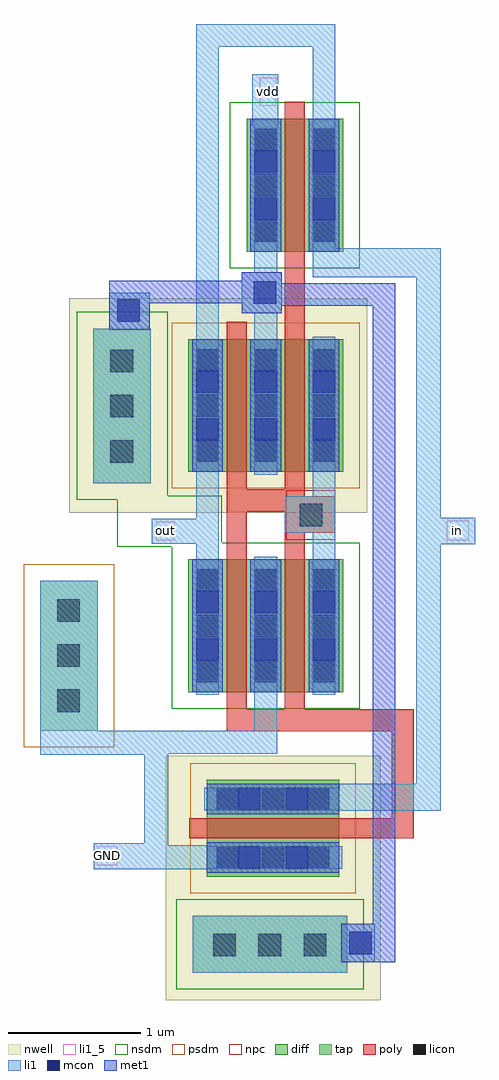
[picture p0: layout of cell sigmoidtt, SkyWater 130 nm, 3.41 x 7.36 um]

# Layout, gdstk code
from math import pi, radians
import gdstk
lib = gdstk.Library(unit=1e-6, precision=1e-09)
def R(c, l, rs):  # rectangles x0, y0, x1, y1
    for r in rs: c.add(gdstk.rectangle(r[:2], r[2:], *l))
def A(c, l, x, y, w, h, nx, ny, dx, dy):  # array of equal rectangles
    R(c, l, [(x+i*dx, y+j*dy, x+i*dx+w, y+j*dy+h) for i in range(nx) for j in range(ny)])
nwell = (64, 20)
diff = (65, 20)
tap = (65, 44)
poly = (66, 20)
licon = (66, 44)
li1_5 = (67, 5)
li1 = (67, 20)
mcon = (67, 44)
met1 = (68, 20)
nsdm = (93, 44)
psdm = (94, 20)
npc = (95, 20)

sky130_fd_pr__pfet_01v8_ = lib.new_cell('sky130_fd_pr__pfet_01v8_5U3NDE')
R(sky130_fd_pr__pfet_01v8_, nwell, [(-0.545,-0.81,0.545,0.81)])
R(sky130_fd_pr__pfet_01v8_, diff, [(-0.365,-0.5,0.365,0.5)])
R(sky130_fd_pr__pfet_01v8_, poly, [(-0.075,-0.63,0.075,0.63)])
A(sky130_fd_pr__pfet_01v8_, licon, -0.305, -0.425, 0.17, 0.17, 1, 3, 0, 0.34)
A(sky130_fd_pr__pfet_01v8_, licon, 0.135, -0.425, 0.17, 0.17, 1, 3, 0, 0.34)
R(sky130_fd_pr__pfet_01v8_, li1, [(-0.305,-0.52,-0.135,0.52), (0.135,-0.52,0.305,0.52)])
R(sky130_fd_pr__pfet_01v8_, mcon, [(-0.305,-0.265,-0.135,-0.095), (0.135,-0.265,0.305,-0.095), (-0.305,0.095,-0.135,0.265), (0.135,0.095,0.305,0.265)])
R(sky130_fd_pr__pfet_01v8_, met1, [(-0.335,-0.5,-0.105,0.5), (0.105,-0.5,0.335,0.5)])
R(sky130_fd_pr__pfet_01v8_, psdm, [(-0.49,-0.625,0.49,0.625)])

sky130_fd_pr__nfet_01v8_ = lib.new_cell('sky130_fd_pr__nfet_01v8_J2TWZ5')
R(sky130_fd_pr__nfet_01v8_, diff, [(-0.365,-0.5,0.365,0.5)])
R(sky130_fd_pr__nfet_01v8_, poly, [(-0.075,-0.63,0.075,0.63)])
A(sky130_fd_pr__nfet_01v8_, licon, -0.305, -0.425, 0.17, 0.17, 1, 3, 0, 0.34)
A(sky130_fd_pr__nfet_01v8_, licon, 0.135, -0.425, 0.17, 0.17, 1, 3, 0, 0.34)
R(sky130_fd_pr__nfet_01v8_, li1, [(-0.305,-0.52,-0.135,0.52), (0.135,-0.52,0.305,0.52)])
R(sky130_fd_pr__nfet_01v8_, mcon, [(-0.305,-0.265,-0.135,-0.095), (0.135,-0.265,0.305,-0.095), (-0.305,0.095,-0.135,0.265), (0.135,0.095,0.305,0.265)])
R(sky130_fd_pr__nfet_01v8_, met1, [(-0.335,-0.5,-0.105,0.5), (0.105,-0.5,0.335,0.5)])
R(sky130_fd_pr__nfet_01v8_, nsdm, [(-0.49,-0.625,0.49,0.625)])

sigmoidtt = lib.new_cell('sigmoidtt')
R(sigmoidtt, nwell, [(-1.215,-2.335,0.405,-1.585), (-1.055,-1.585,0.24,-1.515), (-1.095,-1.35,-0.905,-1.25), (0.095,-0.735,0.125,-0.705), (-1.94,1.335,-1.225,1.34), (-1.94,1.34,-1.22,2.955)])
R(sigmoidtt, tap, [(-1.01,-2.13,0.155,-1.7), (-2.16,-0.305,-1.725,0.825), (-1.76,1.56,-1.325,2.725)])
R(sigmoidtt, poly, [(0.225,-1.115,0.655,-0.965), (0.49,-0.965,0.655,-0.31), (-0.755,-0.31,0.655,-0.145), (-0.755,1.11,-0.605,1.345), (-0.315,1.115,-0.165,1.185), (-0.315,1.185,0.065,1.345), (-0.755,1.345,0.065,1.46), (-0.755,1.46,-0.165,1.515), (-0.315,1.515,-0.165,1.52), (-0.315,2.775,-0.165,3.175)])
A(sigmoidtt, licon, -0.855, -2.005, 0.17, 0.17, 3, 1, 0.34, 0)
A(sigmoidtt, licon, -2.03, -0.165, 0.17, 0.17, 1, 3, 0, 0.34)
A(sigmoidtt, licon, -1.63, 1.715, 0.17, 0.17, 1, 3, 0, 0.34)
R(sigmoidtt, licon, [(-0.205,1.235,-0.035,1.405)])
R(sigmoidtt, li1_5, [(-1.73,-1.32,-1.58,-1.175), (-1.285,1.13,-1.145,1.27), (0.905,1.13,1.07,1.275), (-0.505,4.405,-0.38,4.615)])
R(sigmoidtt, li1, [(-1.01,-2.13,0.155,-2.05), (-1.01,-2.05,0.36,-1.76), (-1.01,-1.76,0.155,-1.7), (-1.755,-1.35,-0.905,-1.17), (-1.755,-1.17,-1.195,-1.155), (-1.375,-1.155,-1.195,-0.485), (0.11,-0.91,0.86,-0.735), (0.095,-0.735,0.86,-0.705), (0.675,-0.705,0.86,1.1), (-2.16,-0.485,-1.195,-0.48), (-2.16,-0.48,-0.375,-0.305), (-2.16,-0.305,-1.725,0.825), (-0.545,-0.305,-0.375,-0.015), (-0.985,1.005,-0.815,1.105), (-0.105,1.005,0.065,1.185), (0.675,1.1,1.12,1.3), (-1.32,1.105,-0.815,1.29), (-0.315,1.185,0.065,1.46), (-0.985,1.29,-0.815,1.625), (0.675,1.3,0.86,3.11), (-0.105,1.46,0.065,1.625), (-1.76,1.56,-1.325,2.725), (-0.985,2.665,-0.815,4.85), (-0.545,2.665,-0.375,2.84), (-1.64,2.725,-1.335,2.995), (-0.64,2.84,-0.34,3.15), (-0.105,3.11,0.86,3.33), (-0.545,3.15,-0.375,3.285), (-0.56,4.26,-0.365,4.64), (-0.105,4.325,0.065,4.85), (-0.985,4.85,0.065,5.02)])
R(sigmoidtt, mcon, [(0.17,-1.99,0.34,-1.82), (-1.58,2.775,-1.41,2.945), (-0.55,2.91,-0.38,3.08)])
R(sigmoidtt, met1, [(0.11,-2.05,0.515,-1.76), (0.345,-1.76,0.515,2.895), (-1.64,2.715,-1.335,2.915), (-0.64,2.84,-0.34,2.895), (-0.64,2.895,0.515,2.915), (-1.64,2.915,0.515,3.065), (-1.64,3.065,-0.34,3.085), (-0.64,3.085,-0.34,3.15)])
R(sigmoidtt, nsdm, [(-1.135,-2.255,0.28,-1.575), (-1.58,1.08,-1.17,1.11), (-1.58,1.11,-0.79,1.435), (-1.885,1.435,-0.79,1.465), (-1.885,1.465,-1.2,2.85)])
R(sigmoidtt, psdm, [(-2.285,-0.43,-1.6,0.95)])
R(sigmoidtt, npc, [(-0.305,1.135,0.065,1.505)])
sigmoidtt.add(gdstk.Reference(sky130_fd_pr__pfet_01v8_, (-0.405,-1.04), rotation=3*pi/2))
sigmoidtt.add(gdstk.Reference(sky130_fd_pr__nfet_01v8_, (-0.24,3.805), rotation=pi, x_reflection=True))
sigmoidtt.add(gdstk.Reference(sky130_fd_pr__nfet_01v8_, (-0.68,0.485), rotation=pi, x_reflection=True))
sigmoidtt.add(gdstk.Reference(sky130_fd_pr__pfet_01v8_, (-0.68,2.145), rotation=pi, x_reflection=True))
sigmoidtt.add(gdstk.Reference(sky130_fd_pr__pfet_01v8_, (-0.24,2.145)))
sigmoidtt.add(gdstk.Reference(sky130_fd_pr__nfet_01v8_, (-0.24,0.485)))
sigmoidtt.add(gdstk.Label('vdd', (-0.442,4.51), layer=67, texttype=5))
sigmoidtt.add(gdstk.Label('GND', (-1.655,-1.247), layer=67, texttype=5))
sigmoidtt.add(gdstk.Label('in', (0.987,1.202), layer=67, texttype=5))
sigmoidtt.add(gdstk.Label('out', (-1.215,1.2), layer=67, texttype=5))

lib.write_gds('sigmoidtt.gds')
